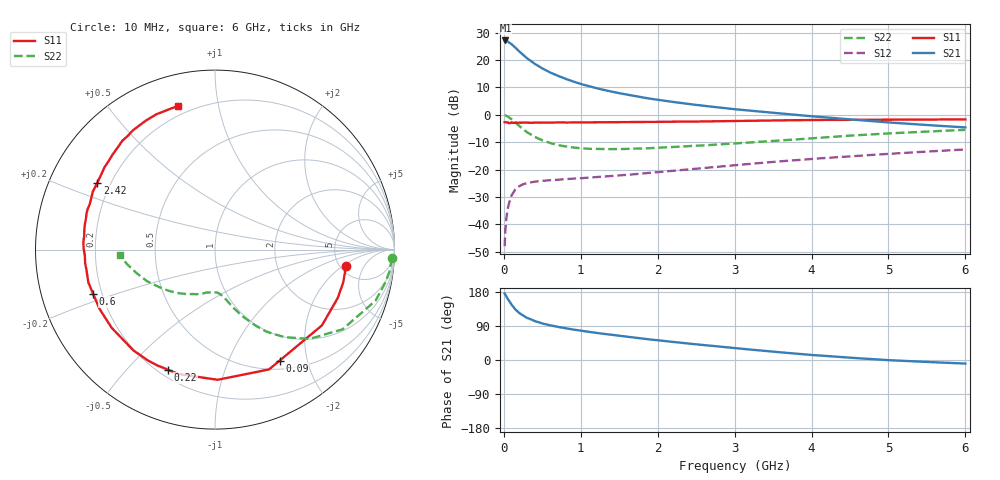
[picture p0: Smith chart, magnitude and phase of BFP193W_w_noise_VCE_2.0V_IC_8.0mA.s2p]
! Infineon Technologies  Discrete & RF Semiconductors
! BFP193W
! VCE = 2.0 V,  IC =  8.0 mA
! Common Emitter S-Parameters:  Jan 2016
# GHz  S  MA  R  50
!  f  S11  S21  S12  S22
! GHz  MAG  ANG  MAG  ANG  MAG  ANG  MAG  ANG
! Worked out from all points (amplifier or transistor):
!   210 points, 10 MHz to 6 GHz, reference 50 ohm
!   highest |S21| = 27.2 dB at 20 MHz (marker M1)
!   |S21| within 3 dB of that: start of sweep to 163.9 MHz
!   unconditionally stable (mu >= 1): 1.405 GHz to 4.421 GHz
!   at 185 MHz: K = 0.19, MSG = 25.0 dB, |S12| = -26.4 dB
!   at 1.52 GHz: K = 1.04, MAG = 13.7 dB, |S12| = -22.1 dB
!   at 6 GHz: K = 0.94, MSG = 4.0 dB, |S12| = -12.6 dB
!   lowest NFmin = 1.25 dB at 450 MHz
!   S11 on the Smith chart (normalised r, x): 10 MHz: 5.68, -2.23; 90 MHz: 0.62, -1.56; 220 MHz: 0.24, -0.66; 600 MHz: 0.17, -0.17; 2.42 GHz: 0.15, +0.26; 6 GHz: 0.15, +0.76
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0.01  0.7361 -7.0  22.82 175.4  0.004 87.0  0.9869 -2.8
0.02  0.7375 -14.4  22.86 172.5  0.0078 82.7  0.9794 -7.3
0.05  0.7303 -35.3  22 161.5  0.0192 73.1  0.9388 -17.6
0.09  0.7156 -59.8  19.95 149.2  0.0308 61.4  0.8536 -28.9
0.1  0.7323 -65.7  19.6 145.8  0.0338 59.7  0.8381 -32.0
0.15  0.7256 -88.8  16.92 133.1  0.0435 49.7  0.7251 -43.3
0.2  0.7223 -106.4  14.43 123.9  0.0497 42.8  0.6258 -51.3
0.22  0.7188 -111.4  13.63 121.3  0.0515 40.8  0.5941 -53.5
0.26  0.722 -121.0  12.17 115.8  0.0547 37.4  0.5353 -58.2
0.3  0.7227 -129.0  10.85 111.2  0.0567 34.5  0.4832 -61.7
0.4  0.722 -142.9  8.59 102.8  0.0602 30.5  0.3975 -67.9
0.5  0.7232 -152.8  7.056 96.4  0.0625 28.6  0.3431 -72.2
0.6  0.7228 -160.0  5.963 91.5  0.064 27.6  0.3061 -75.5
0.8  0.7248 -170.2  4.554 83.7  0.067 28.4  0.2651 -80.3
1.02  0.727 -178.0  3.604 76.8  0.07 29.8  0.2446 -85.1
1.42  0.737 171.0  2.626 65.9  0.0769 33.7  0.2372 -93.1
2.02  0.7463 157.9  1.87 51.6  0.0906 39.4  0.2523 -104.7
2.42  0.7538 150.3  1.569 43.0  0.1014 41.9  0.2699 -112.9
3.1  0.7747 138.5  1.231 29.5  0.1237 43.6  0.3066 -127.0
4.1  0.8074 123.4  0.919 12.0  0.1602 42.1  0.3808 -147.7
5.1  0.8213 112.4  0.712 -1.3  0.1979 38.0  0.4658 -165.3
6  0.8269 104.6  0.59 -9.4  0.2338 33.6  0.5321 -177.0
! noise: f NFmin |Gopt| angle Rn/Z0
0.45  1.25  0.23  133  0.12
0.9  1.3  0.35  156  0.11
1.8  2  0.55  -155  0.13
